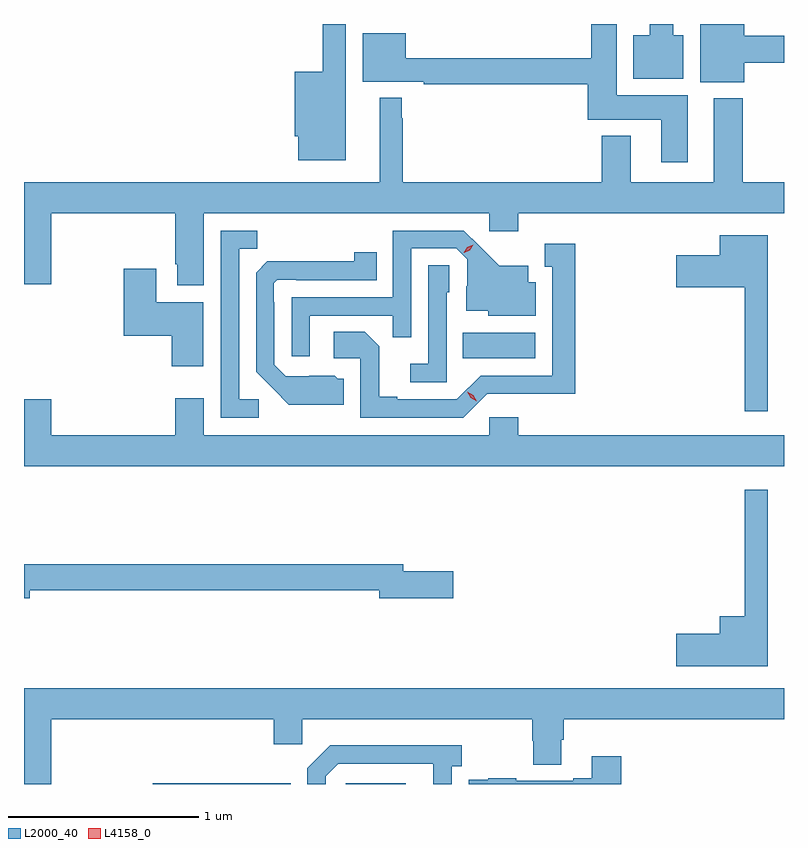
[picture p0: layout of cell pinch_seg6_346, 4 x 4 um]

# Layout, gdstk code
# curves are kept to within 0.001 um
import gdstk
lib = gdstk.Library(unit=1e-6, precision=1e-09)
def R(c, l, rs):  # rectangles x0, y0, x1, y1
    for r in rs: c.add(gdstk.rectangle(r[:2], r[2:], *l))
def P(c, l, *ps):  # polygons
    for p in ps: c.add(gdstk.Polygon(p, *l))
L2000_40 = (2000, 40)
L4158_0 = (4158, 0)

pinch_seg6_346 = lib.new_cell('pinch_seg6_346')
R(pinch_seg6_346, L2000_40, [(753.119,940.336,753.844,940.339), (754.134,940.336,754.45,940.341), (754.75,942.578,755.131,942.712)])
P(pinch_seg6_346, L2000_40, [(755.911,944.278),(755.857,944.278),(755.857,944.336),(755.735,944.336),(755.735,944.278),(755.648,944.278),(755.648,944.048),(755.911,944.048)],
  [(755.935,943.96),(755.56,943.96),(755.56,944.336),(755.426,944.336),(755.426,944.156),(754.45,944.156),(754.45,944.287),(754.223,944.287),(754.223,944.033),(754.546,944.033),(754.546,944.02),(755.408,944.02),(755.408,943.832),(755.795,943.832),(755.795,943.608),(755.935,943.608)],
  [(754.135,944.336),(754.014,944.336),(754.014,944.086),(753.866,944.086),(753.866,943.746),(753.884,943.746),(753.884,943.619),(754.135,943.619)],
  [(756.232,944.132),(756.441,944.132),(756.441,944.274),(756.232,944.274),(756.232,944.335),(755.999,944.335),(755.999,944.03),(756.232,944.03)],
  [(753.388,943.34),(754.89,943.34),(754.89,943.245),(755.042,943.245),(755.042,943.34),(756.441,943.34),(756.441,943.504),(756.224,943.504),(756.224,943.945),(756.071,943.945),(756.071,943.504),(755.635,943.504),(755.635,943.747),(755.483,943.747),(755.483,943.504),(754.435,943.504),(754.435,943.841),(754.428,943.841),(754.428,943.948),(754.313,943.948),(754.313,943.504),(752.441,943.504),(752.441,942.966),(752.584,942.966),(752.584,943.34),(753.236,943.34),(753.236,943.072),(753.248,943.072),(753.248,942.96),(753.388,942.96)],
  [(753.676,942.36),(753.573,942.36),(753.573,943.153),(753.669,943.153),(753.669,943.248),(753.477,943.248),(753.477,942.264),(753.676,942.264)],
  [(753.945,942.801),(754.381,942.801),(754.381,942.688),(754.479,942.688),(754.479,943.155),(754.716,943.155),(754.773,943.098),(754.773,942.956),(754.769,942.956),(754.769,942.827),(754.884,942.827),(754.884,942.8),(755.134,942.8),(755.134,942.976),(755.095,942.976),(755.095,943.063),(754.943,943.063),(754.756,943.248),(754.383,943.248),(754.383,942.897),(753.849,942.897),(753.849,942.588),(753.945,942.588)],
  [(756.355,943.225),(756.104,943.225),(756.104,943.12),(755.874,943.12),(755.874,942.95),(756.234,942.95),(756.234,942.297),(756.355,942.297)],
  [(754.878,942.39),(755.341,942.389),(755.341,943.18),(755.183,943.18),(755.183,943.059),(755.222,943.059),(755.222,942.486),(754.845,942.486),(754.719,942.36),(754.405,942.36),(754.405,942.373),(754.311,942.373),(754.311,942.64),(754.235,942.716),(754.071,942.716),(754.071,942.576),(754.212,942.576),(754.212,942.264),(754.752,942.264)],
  [(754.123,942.468),(754.092,942.468),(754.076,942.484),(753.819,942.483),(753.759,942.543),(753.759,942.872),(753.756,942.872),(753.756,942.972),(753.774,942.99),(753.874,942.99),(753.874,942.987),(754.298,942.987),(754.298,943.135),(754.18,943.135),(754.18,943.088),(753.722,943.087),(753.663,943.028),(753.663,942.506),(753.835,942.332),(754.123,942.332)],
  [(754.665,942.924),(754.68,942.924),(754.68,943.067),(754.569,943.067),(754.569,942.547),(754.473,942.547),(754.473,942.45),(754.665,942.45)],
  [(753.385,942.871),(753.136,942.871),(753.136,943.048),(752.966,943.048),(752.966,942.695),(753.218,942.695),(753.218,942.534),(753.385,942.534)],
  [(756.441,942.172),(755.042,942.172),(755.042,942.265),(754.89,942.265),(754.89,942.172),(753.388,942.172),(753.388,942.367),(753.236,942.367),(753.236,942.172),(752.584,942.172),(752.584,942.361),(752.441,942.361),(752.441,942.008),(756.441,942.008)],
  [(756.355,941.884),(756.234,941.884),(756.234,941.218),(756.104,941.218),(756.104,941.126),(755.874,941.126),(755.874,940.955),(756.355,940.955)],
  [(752.47,941.356),(754.31,941.356),(754.31,941.314),(754.699,941.314),(754.699,941.456),(754.438,941.456),(754.438,941.492),(752.441,941.492),(752.441,941.314),(752.47,941.314)],
  [(752.584,940.676),(753.755,940.676),(753.755,940.545),(753.906,940.545),(753.906,940.676),(755.117,940.676),(755.117,940.563),(755.122,940.563),(755.122,940.438),(755.269,940.438),(755.269,940.57),(755.282,940.57),(755.282,940.676),(756.441,940.676),(756.441,940.84),(752.441,940.84),(752.441,940.336),(752.584,940.336)],
  [(754.029,940.377),(754.095,940.443),(754.595,940.443),(754.595,940.336),(754.692,940.336),(754.692,940.43),(754.744,940.43),(754.744,940.54),(754.054,940.54),(753.933,940.419),(753.933,940.336),(754.029,940.336)],
  [(755.585,940.483),(755.429,940.483),(755.429,940.366),(755.333,940.366),(755.333,940.353),(755.033,940.353),(755.033,940.366),(754.885,940.366),(754.885,940.359),(754.783,940.359),(754.783,940.336),(755.585,940.336)])
P(pinch_seg6_346, L4158_0, [(754.824,942.35),(754.792,942.369),(754.773,942.401),(754.773,942.401),(754.774,942.401),(754.806,942.383),(754.824,942.351),(754.824,942.35)],
  [(754.756,943.131),(754.756,943.131),(754.774,943.16),(754.806,943.175),(754.806,943.175),(754.806,943.174),(754.788,943.145),(754.757,943.131)])

lib.write_gds('pinch_seg6_346.gds')
